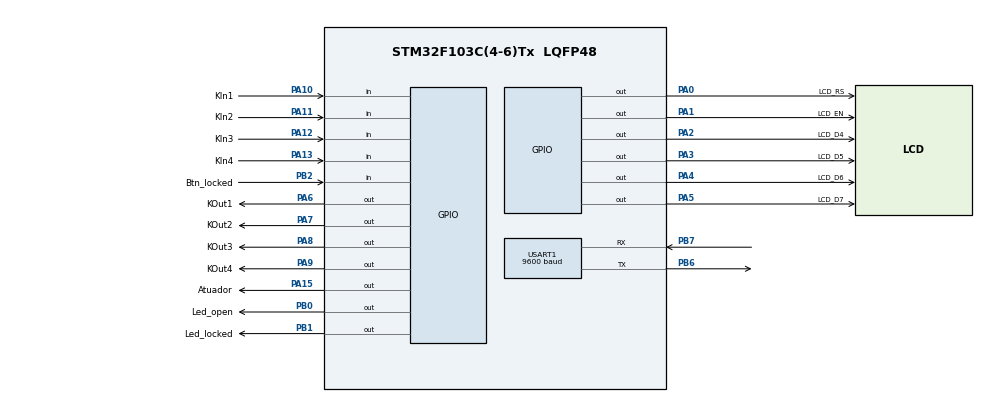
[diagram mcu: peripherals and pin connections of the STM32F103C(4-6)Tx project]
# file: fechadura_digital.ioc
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Mcu.Family=STM32F1
Mcu.Name=STM32F103C(4-6)Tx
Mcu.Package=LQFP48
NVIC.PriorityGroup=NVIC_PRIORITYGROUP_4
PA0-WKUP.GPIO_Label=LCD_RS
PA0-WKUP.Signal=GPIO_Output
PA1.GPIO_Label=LCD_EN
PA1.Signal=GPIO_Output
PA10.GPIO_Label=KIn1
PA10.GPIO_PuPd=GPIO_NOPULL
PA10.Signal=GPIO_Input
PA11.GPIO_Label=KIn2
PA11.GPIO_PuPd=GPIO_NOPULL
PA11.Signal=GPIO_Input
PA12.GPIO_Label=KIn3
PA12.GPIO_PuPd=GPIO_NOPULL
PA12.Signal=GPIO_Input
PA13.GPIO_Label=KIn4
PA13.GPIO_Mode=GPIO_MODE_INPUT
PA13.GPIO_PuPd=GPIO_NOPULL
PA13.Signal=GPIO_Input
PA15.GPIO_Label=Atuador
PA15.Signal=GPIO_Output
PA2.GPIO_Label=LCD_D4
PA2.Signal=GPIO_Output
PA3.GPIO_Label=LCD_D5
PA3.Signal=GPIO_Output
PA4.GPIO_Label=LCD_D6
PA4.Signal=GPIO_Output
PA5.GPIO_Label=LCD_D7
PA5.Signal=GPIO_Output
PA6.GPIO_Label=KOut1
PA6.GPIO_PuPd=GPIO_NOPULL
PA6.PinState=GPIO_PIN_RESET
PA6.Signal=GPIO_Output
PA7.GPIO_Label=KOut2
PA7.GPIO_PuPd=GPIO_NOPULL
PA7.PinState=GPIO_PIN_RESET
PA7.Signal=GPIO_Output
PA8.GPIO_Label=KOut3
PA8.GPIO_PuPd=GPIO_NOPULL
PA8.Signal=GPIO_Output
PA9.GPIO_Label=KOut4
PA9.GPIO_PuPd=GPIO_NOPULL
PA9.Signal=GPIO_Output
PB0.GPIO_Label=Led_open
PB0.Signal=GPIO_Output
PB1.GPIO_Label=Led_locked
PB1.Signal=GPIO_Output
PB2.GPIO_Label=Btn_locked
PB2.GPIO_PuPd=GPIO_PULLDOWN
PB2.Signal=GPIO_Input
PB6.Mode=Asynchronous
PB6.Signal=USART1_TX
PB7.Mode=Asynchronous
PB7.Signal=USART1_RX
ProjectManager.HeapSize=0x200
ProjectManager.StackSize=0x400
ProjectManager.TargetToolchain=STM32CubeIDE
RCC.AHBFreq_Value=8000000
RCC.APB1Freq_Value=8000000
RCC.APB1TimFreq_Value=8000000
RCC.APB2Freq_Value=8000000
RCC.APB2TimFreq_Value=8000000
RCC.HCLKFreq_Value=8000000
USART1.BaudRate=9600
USART1.VirtualMode=VM_ASYNC
VP_SYS_VS_ND.Mode=No_Debug
board=custom

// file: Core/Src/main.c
/* USER CODE BEGIN Header */
/**
  ******************************************************************************
  * @file           : main.c
  * @brief          : Main program body
  ******************************************************************************
  * @attention
  *
  * <h2><center>&copy; Copyright (c) 2021 STMicroelectronics.
  * All rights reserved.</center></h2>
  *
  * This software component is licensed by ST under BSD 3-Clause license,
  * the "License"; You may not use this file except in compliance with the
  * License. You may obtain a copy of the License at:
  *                        opensource.org/licenses/BSD-3-Clause
  *
  ******************************************************************************
  */
/* USER CODE END Header */
#include "main.h"

/* USER CODE BEGIN Includes */

#include "terminal_log.h"

#include "menu.h"

#include "another_keypad.h"

#include "lcd_v1.2.h"

/* USER CODE END Includes */

UART_HandleTypeDef huart1;

void SystemClock_Config(void);
static void MX_GPIO_Init(void);
static void MX_USART1_UART_Init(void);

int main(void)
{

  /* MCU Configuration--------------------------------------------------------*/

  /* Reset of all peripherals, Initializes the Flash interface and the Systick. */
  HAL_Init();

  /* Configure the system clock */
  SystemClock_Config();

  /* Initialize all configured peripherals */
  MX_GPIO_Init();
  MX_USART1_UART_Init();
  /* USER CODE BEGIN 2 */

  lcd_20x4_4bits_Init(); // Iniciando o display

  // Senha padrão
  int senha = 1234;

  // Mensagem inicial do menu
  menuInit();

  // Mensagem inicial do terminal
  terminalPrintInit();

  /* USER CODE END 2 */

  /* Infinite loop */
  /* USER CODE BEGIN WHILE */
  while (1)
  {
	  HAL_GPIO_WritePin(Led_locked_GPIO_Port, Led_locked_Pin, 1);
	  menuPassword();

	  int entrada;

	  entrada = keypadLoopF();

	  if(senha == entrada)
	  {

		  terminalPasswordLog(senha, 1);
		  menuMain();

		  int op;

		  // Capturando a opção digitada pelo usuário
		  op = keypadLoopO();

		  switch (op)
		  {
		  case 1:
			  // Caso queira abrir a porta

			  HAL_GPIO_WritePin(Led_locked_GPIO_Port, Led_locked_Pin, 0);
			  HAL_GPIO_WritePin(Led_open_GPIO_Port, Led_open_Pin, 1);

			  terminalPrintNL(2);
			  terminalPrint("Door open!");
			  terminalPrintNL(2);

			  HAL_GPIO_TogglePin(Atuador_GPIO_Port, Atuador_Pin);
			  HAL_Delay(200);
			  HAL_GPIO_TogglePin(Atuador_GPIO_Port, Atuador_Pin);
			  HAL_Delay(200);
			  HAL_GPIO_TogglePin(Atuador_GPIO_Port, Atuador_Pin);
			  HAL_Delay(200);
			  HAL_GPIO_TogglePin(Atuador_GPIO_Port, Atuador_Pin);
			  HAL_Delay(200);

			  // Aguardando a porta ser fechada
			  while (HAL_GPIO_ReadPin(Btn_locked_GPIO_Port, Btn_locked_Pin) != 1);

			  terminalPrintNL(2);uyk-axgr-irc
			  terminalPrint("Door closed!");
			  terminalPrintNL(2);

			  HAL_GPIO_WritePin(Led_open_GPIO_Port, Led_open_Pin, 0);

			  break;
		  case 2:
			  // Caso deseje alterar a senha

			  menu2();
			  terminalPasswordChanged();
			  senha = keypadLoopF();
			  break;
		  case 3:
			  // Caso deseje retornar para os padrões de fábrica

			  menu3();
			  terminalResetPassword();
			  HAL_Delay(200);
			  senha = 1234;
			  break;
		  default:
			  menuE();
		  }

	  }
	  else
	  {
		 // Usuario errou a senha

		 HAL_GPIO_TogglePin(Led_locked_GPIO_Port, Led_locked_Pin);
		 HAL_Delay(100);
		 HAL_GPIO_TogglePin(Led_locked_GPIO_Port, Led_locked_Pin);
		 HAL_Delay(100);
		 HAL_GPIO_TogglePin(Led_locked_GPIO_Port, Led_locked_Pin);
		 HAL_Delay(100);
		 HAL_GPIO_TogglePin(Led_locked_GPIO_Port, Led_locked_Pin);
		 HAL_Delay(100);
		 terminalPasswordLog(senha, 0);
		 menuPasswordFail();
	  }

	  HAL_Delay(100);
	  lcd_limpa_display();

    /* USER CODE END WHILE */

  }
}

void SystemClock_Config(void)
{
  RCC_OscInitTypeDef RCC_OscInitStruct = {0};
  RCC_ClkInitTypeDef RCC_ClkInitStruct = {0};

  /** Initializes the RCC Oscillators according to the specified parameters
  * in the RCC_OscInitTypeDef structure.
  */
  RCC_OscInitStruct.OscillatorType = RCC_OSCILLATORTYPE_HSI;
  RCC_OscInitStruct.HSIState = RCC_HSI_ON;
  RCC_OscInitStruct.HSICalibrationValue = RCC_HSICALIBRATION_DEFAULT;
  RCC_OscInitStruct.PLL.PLLState = RCC_PLL_NONE;
  if (HAL_RCC_OscConfig(&RCC_OscInitStruct) != HAL_OK)
  {
    Error_Handler();
  }
  /** Initializes the CPU, AHB and APB buses clocks
  */
  RCC_ClkInitStruct.ClockType = RCC_CLOCKTYPE_HCLK|RCC_CLOCKTYPE_SYSCLK
                              |RCC_CLOCKTYPE_PCLK1|RCC_CLOCKTYPE_PCLK2;
  RCC_ClkInitStruct.SYSCLKSource = RCC_SYSCLKSOURCE_HSI;
  RCC_ClkInitStruct.AHBCLKDivider = RCC_SYSCLK_DIV1;
  RCC_ClkInitStruct.APB1CLKDivider = RCC_HCLK_DIV1;
  RCC_ClkInitStruct.APB2CLKDivider = RCC_HCLK_DIV1;

  if (HAL_RCC_ClockConfig(&RCC_ClkInitStruct, FLASH_LATENCY_0) != HAL_OK)
  {
    Error_Handler();
  }
}

static void MX_USART1_UART_Init(void)
{

  huart1.Instance = USART1;
  huart1.Init.BaudRate = 9600;
  huart1.Init.WordLength = UART_WORDLENGTH_8B;
  huart1.Init.StopBits = UART_STOPBITS_1;
  huart1.Init.Parity = UART_PARITY_NONE;
  huart1.Init.Mode = UART_MODE_TX_RX;
  huart1.Init.HwFlowCtl = UART_HWCONTROL_NONE;
  huart1.Init.OverSampling = UART_OVERSAMPLING_16;
  if (HAL_UART_Init(&huart1) != HAL_OK)
  {
    Error_Handler();
  }

}

static void MX_GPIO_Init(void)
{
  GPIO_InitTypeDef GPIO_InitStruct = {0};

  /* GPIO Ports Clock Enable */
  __HAL_RCC_GPIOA_CLK_ENABLE();
  __HAL_RCC_GPIOB_CLK_ENABLE();

  /*Configure GPIO pin Output Level */
  HAL_GPIO_WritePin(GPIOA, LCD_RS_Pin|LCD_EN_Pin|LCD_D4_Pin|LCD_D5_Pin
                          |LCD_D6_Pin|LCD_D7_Pin|KOut1_Pin|KOut2_Pin
                          |KOut3_Pin|KOut4_Pin|Atuador_Pin, GPIO_PIN_RESET);

  /*Configure GPIO pin Output Level */
  HAL_GPIO_WritePin(GPIOB, Led_open_Pin|Led_locked_Pin, GPIO_PIN_RESET);

  /*Configure GPIO pins : LCD_RS_Pin LCD_EN_Pin LCD_D4_Pin LCD_D5_Pin
                           LCD_D6_Pin LCD_D7_Pin KOut1_Pin KOut2_Pin
                           KOut3_Pin KOut4_Pin Atuador_Pin */
  GPIO_InitStruct.Pin = LCD_RS_Pin|LCD_EN_Pin|LCD_D4_Pin|LCD_D5_Pin
                          |LCD_D6_Pin|LCD_D7_Pin|KOut1_Pin|KOut2_Pin
                          |KOut3_Pin|KOut4_Pin|Atuador_Pin;
  GPIO_InitStruct.Mode = GPIO_MODE_OUTPUT_PP;
  GPIO_InitStruct.Pull = GPIO_NOPULL;
  GPIO_InitStruct.Speed = GPIO_SPEED_FREQ_LOW;
  HAL_GPIO_Init(GPIOA, &GPIO_InitStruct);

  /*Configure GPIO pins : Led_open_Pin Led_locked_Pin */
  GPIO_InitStruct.Pin = Led_open_Pin|Led_locked_Pin;
  GPIO_InitStruct.Mode = GPIO_MODE_OUTPUT_PP;
  GPIO_InitStruct.Pull = GPIO_NOPULL;
  GPIO_InitStruct.Speed = GPIO_SPEED_FREQ_LOW;
  HAL_GPIO_Init(GPIOB, &GPIO_InitStruct);

  /*Configure GPIO pin : Btn_locked_Pin */
  GPIO_InitStruct.Pin = Btn_locked_Pin;
  GPIO_InitStruct.Mode = GPIO_MODE_INPUT;
  GPIO_InitStruct.Pull = GPIO_PULLDOWN;
  HAL_GPIO_Init(Btn_locked_GPIO_Port, &GPIO_InitStruct);

  /*Configure GPIO pins : KIn1_Pin KIn2_Pin KIn3_Pin KIn4_Pin */
  GPIO_InitStruct.Pin = KIn1_Pin|KIn2_Pin|KIn3_Pin|KIn4_Pin;
  GPIO_InitStruct.Mode = GPIO_MODE_INPUT;
  GPIO_InitStruct.Pull = GPIO_NOPULL;
  HAL_GPIO_Init(GPIOA, &GPIO_InitStruct);

}

void Error_Handler(void)
{
  __disable_irq();
  while (1)
  {
  }
}

/************************ (C) COPYRIGHT STMicroelectronics *****END OF FILE****/
